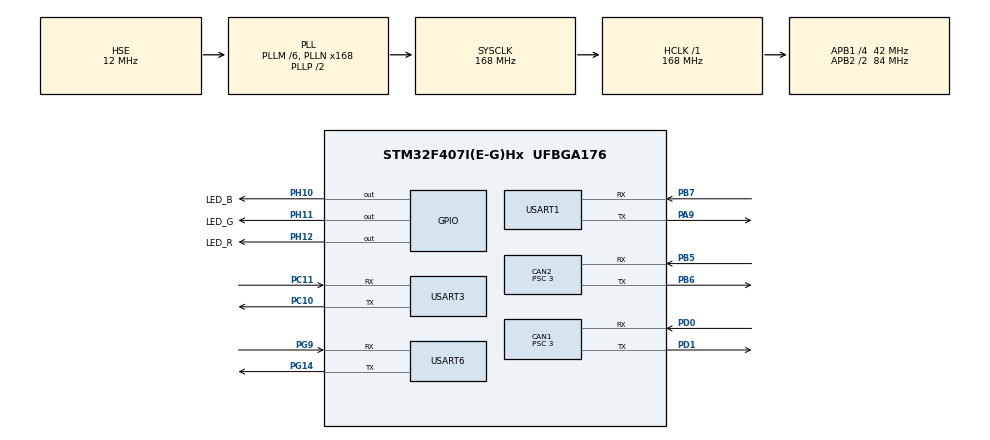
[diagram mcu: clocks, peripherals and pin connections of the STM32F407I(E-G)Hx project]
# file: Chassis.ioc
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CAN1.BS1=CAN_BS1_10TQ
CAN1.BS2=CAN_BS2_3TQ
CAN1.CalculateBaudRate=1000000
CAN1.CalculateTimeBit=1000
CAN1.CalculateTimeQuantum=71.42857142857143
CAN1.Prescaler=3
CAN2.BS1=CAN_BS1_10TQ
CAN2.BS2=CAN_BS2_3TQ
CAN2.CalculateBaudRate=1000000
CAN2.CalculateTimeBit=1000
CAN2.CalculateTimeQuantum=71.42857142857143
CAN2.Prescaler=3
Dma.Request0=USART6_RX
Dma.Request1=USART6_TX
Dma.USART6_RX.0.Direction=DMA_PERIPH_TO_MEMORY
Dma.USART6_RX.0.FIFOMode=DMA_FIFOMODE_DISABLE
Dma.USART6_RX.0.Instance=DMA2_Stream1
Dma.USART6_RX.0.MemDataAlignment=DMA_MDATAALIGN_BYTE
Dma.USART6_RX.0.MemInc=DMA_MINC_ENABLE
Dma.USART6_RX.0.Mode=DMA_NORMAL
Dma.USART6_RX.0.PeriphDataAlignment=DMA_PDATAALIGN_BYTE
Dma.USART6_RX.0.PeriphInc=DMA_PINC_DISABLE
Dma.USART6_RX.0.Priority=DMA_PRIORITY_LOW
Dma.USART6_TX.1.Direction=DMA_MEMORY_TO_PERIPH
Dma.USART6_TX.1.FIFOMode=DMA_FIFOMODE_DISABLE
Dma.USART6_TX.1.Instance=DMA2_Stream6
Dma.USART6_TX.1.MemDataAlignment=DMA_MDATAALIGN_BYTE
Dma.USART6_TX.1.MemInc=DMA_MINC_ENABLE
Dma.USART6_TX.1.Mode=DMA_NORMAL
Dma.USART6_TX.1.PeriphDataAlignment=DMA_PDATAALIGN_BYTE
Dma.USART6_TX.1.PeriphInc=DMA_PINC_DISABLE
Dma.USART6_TX.1.Priority=DMA_PRIORITY_LOW
Mcu.Family=STM32F4
Mcu.Name=STM32F407I(E-G)Hx
Mcu.Package=UFBGA176
NVIC.CAN1_RX0_IRQn=true\:1\:0\:true\:false\:true\:true\:true\:true
NVIC.CAN2_RX0_IRQn=true\:1\:0\:true\:false\:true\:true\:true\:true
NVIC.DMA2_Stream1_IRQn=true\:0\:0\:false\:false\:true\:false\:true\:true
NVIC.DMA2_Stream6_IRQn=true\:0\:0\:false\:false\:true\:false\:true\:true
NVIC.PriorityGroup=NVIC_PRIORITYGROUP_4
NVIC.TIM2_IRQn=true\:0\:0\:true\:false\:true\:true\:true\:true
NVIC.USART1_IRQn=true\:2\:0\:true\:false\:true\:true\:true\:true
NVIC.USART3_IRQn=true\:2\:0\:true\:false\:true\:true\:true\:true
NVIC.USART6_IRQn=true\:2\:0\:true\:false\:true\:true\:true\:true
PA13.Mode=Serial_Wire
PA13.Signal=SYS_JTMS-SWDIO
PA14.Mode=Serial_Wire
PA14.Signal=SYS_JTCK-SWCLK
PA9.Mode=Asynchronous
PA9.Signal=USART1_TX
PB5.Mode=CAN_Activate
PB5.Signal=CAN2_RX
PB6.Mode=CAN_Activate
PB6.Signal=CAN2_TX
PB7.Mode=Asynchronous
PB7.Signal=USART1_RX
PC10.Mode=Asynchronous
PC10.Signal=USART3_TX
PC11.Mode=Asynchronous
PC11.Signal=USART3_RX
PD0.Mode=CAN_Activate
PD0.Signal=CAN1_RX
PD1.Mode=CAN_Activate
PD1.Signal=CAN1_TX
PG14.Mode=Asynchronous
PG14.Signal=USART6_TX
PG9.Mode=Asynchronous
PG9.Signal=USART6_RX
PH0-OSC_IN.Mode=HSE-External-Oscillator
PH0-OSC_IN.Signal=RCC_OSC_IN
PH1-OSC_OUT.Mode=HSE-External-Oscillator
PH1-OSC_OUT.Signal=RCC_OSC_OUT
PH10.GPIO_Label=LED_B
PH10.Signal=GPIO_Output
PH11.GPIO_Label=LED_G
PH11.Signal=GPIO_Output
PH12.GPIO_Label=LED_R
PH12.Signal=GPIO_Output
ProjectManager.HeapSize=0x200
ProjectManager.StackSize=0x400
ProjectManager.TargetToolchain=CMake
RCC.48MHZClocksFreq_Value=84000000
RCC.AHBFreq_Value=168000000
RCC.APB1CLKDivider=RCC_HCLK_DIV4
RCC.APB1Freq_Value=42000000
RCC.APB1TimFreq_Value=84000000
RCC.APB2CLKDivider=RCC_HCLK_DIV2
RCC.APB2Freq_Value=84000000
RCC.APB2TimFreq_Value=168000000
RCC.CortexFreq_Value=168000000
RCC.HCLKFreq_Value=168000000
RCC.HSE_VALUE=12000000
RCC.HSI_VALUE=16000000
RCC.LSE_VALUE=32768
RCC.PLLM=6
RCC.PLLN=168
RCC.PLLSourceVirtual=RCC_PLLSOURCE_HSE
RCC.SYSCLKFreq_VALUE=168000000
RCC.SYSCLKSource=RCC_SYSCLKSOURCE_PLLCLK
RCC.VCOOutputFreq_Value=336000000
TIM2.Period=99
TIM2.Prescaler=839
USART1.VirtualMode=VM_ASYNC
USART3.VirtualMode=VM_ASYNC
USART6.VirtualMode=VM_ASYNC
VP_TIM2_VS_ClockSourceINT.Mode=Internal
board=custom

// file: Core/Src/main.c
/* USER CODE BEGIN Header */
/**
  ******************************************************************************
  * @file           : main.c
  *
  * @brief          : 底盘控制主程序
  ******************************************************************************
  */
/* USER CODE END Header */
#include "main.h"
#include "can.h"
#include "dma.h"
#include "tim.h"
#include "usart.h"
#include "gpio.h"

/* USER CODE BEGIN Includes */
#include "bsp_can.h"
#include "bsp_uart.h"
#include "m3508.h"
#include "chassis_ctrl.h"
/* USER CODE END Includes */

void SystemClock_Config(void);
/* USER CODE BEGIN PFP */
// 声明CAN接收回调函数
void User_CAN_Rx_Callback(CAN_HandleTypeDef *hcan, uint32_t std_id, uint8_t *data, uint32_t len);
/* USER CODE END PFP */

int main(void)
{

  /* MCU Configuration--------------------------------------------------------*/

  /* Reset of all peripherals, Initializes the Flash interface and the Systick. */
  HAL_Init();

  /* Configure the system clock */
  SystemClock_Config();

  /* Initialize all configured peripherals */
  MX_GPIO_Init();
  MX_DMA_Init();
  MX_CAN1_Init();
  MX_USART6_UART_Init();
  MX_CAN2_Init();
  MX_TIM2_Init();
  MX_USART1_UART_Init();
  MX_USART3_UART_Init();
  /* USER CODE BEGIN 2 */

  // 底盘初始化
  Chassis_Init();

  // CAN通信初始化
  BSP_CAN_Init(&hcan1, User_CAN_Rx_Callback);

  // 板间通信初始化
  BSP_UART_Init(&huart6, Chassis_Rx_Callback);

  // 初始化时间戳
  uint32_t tick_last_loop = 0;
  uint32_t tick_last_led = 0;
  uint32_t tick_last_send = 0;

  // 初始化指示灯
  HAL_GPIO_WritePin(LED_R_GPIO_Port, LED_R_Pin, GPIO_PIN_RESET);
  HAL_GPIO_WritePin(LED_G_GPIO_Port, LED_G_Pin, GPIO_PIN_RESET);
  HAL_GPIO_WritePin(LED_B_GPIO_Port, LED_B_Pin, GPIO_PIN_RESET);

  /* USER CODE END 2 */

  /* Infinite loop */
  /* USER CODE BEGIN WHILE */
  while (1)
  {
      uint32_t now = HAL_GetTick();

      // 底盘运动控制 控制频率500Hz
      if (now - tick_last_loop >= 2)
      {
          tick_last_loop = now;
          Chassis_Loop_Handler();
      }

      // 发送功率给云台 发送频率100Hz
      if (now - tick_last_send >= 10)
      {
          tick_last_send = now;
          Chassis_Send_Status();
      }

      // 指示灯闪烁 闪烁频率2Hz
      if (now - tick_last_led >= 500)
      {
          tick_last_led = now;
          HAL_GPIO_TogglePin(LED_G_GPIO_Port, LED_G_Pin);
      }

    /* USER CODE END WHILE */

  }
}

void SystemClock_Config(void)
{
  RCC_OscInitTypeDef RCC_OscInitStruct = {0};
  RCC_ClkInitTypeDef RCC_ClkInitStruct = {0};

  /** Configure the main internal regulator output voltage
  */
  __HAL_RCC_PWR_CLK_ENABLE();
  __HAL_PWR_VOLTAGESCALING_CONFIG(PWR_REGULATOR_VOLTAGE_SCALE1);

  /** Initializes the RCC Oscillators according to the specified parameters
  * in the RCC_OscInitTypeDef structure.
  */
  RCC_OscInitStruct.OscillatorType = RCC_OSCILLATORTYPE_HSE;
  RCC_OscInitStruct.HSEState = RCC_HSE_ON;
  RCC_OscInitStruct.PLL.PLLState = RCC_PLL_ON;
  RCC_OscInitStruct.PLL.PLLSource = RCC_PLLSOURCE_HSE;
  RCC_OscInitStruct.PLL.PLLM = 6;
  RCC_OscInitStruct.PLL.PLLN = 168;
  RCC_OscInitStruct.PLL.PLLP = RCC_PLLP_DIV2;
  RCC_OscInitStruct.PLL.PLLQ = 4;
  if (HAL_RCC_OscConfig(&RCC_OscInitStruct) != HAL_OK)
  {
    Error_Handler();
  }

  /** Initializes the CPU, AHB and APB buses clocks
  */
  RCC_ClkInitStruct.ClockType = RCC_CLOCKTYPE_HCLK|RCC_CLOCKTYPE_SYSCLK
                              |RCC_CLOCKTYPE_PCLK1|RCC_CLOCKTYPE_PCLK2;
  RCC_ClkInitStruct.SYSCLKSource = RCC_SYSCLKSOURCE_PLLCLK;
  RCC_ClkInitStruct.AHBCLKDivider = RCC_SYSCLK_DIV1;
  RCC_ClkInitStruct.APB1CLKDivider = RCC_HCLK_DIV4;
  RCC_ClkInitStruct.APB2CLKDivider = RCC_HCLK_DIV2;

  if (HAL_RCC_ClockConfig(&RCC_ClkInitStruct, FLASH_LATENCY_5) != HAL_OK)
  {
    Error_Handler();
  }
}

/* USER CODE BEGIN 4 */

/**
 * @brief CAN接收中断函数
 */
void User_CAN_Rx_Callback(CAN_HandleTypeDef *hcan, uint32_t std_id, uint8_t *data, uint32_t len) {

    if (hcan->Instance == CAN1 && std_id >= 0x201 && std_id <= 0x204) {
        // 计算数组索引index
        uint8_t index = std_id - 0x201;

        if (index < 4) {
            // 解析电机数据
            M3508_Update_Data(&motor_m3508[index], data);
        }
    }
}
/* USER CODE END 4 */

void Error_Handler(void)
{
  __disable_irq();
  while (1)
  {
  }
}
